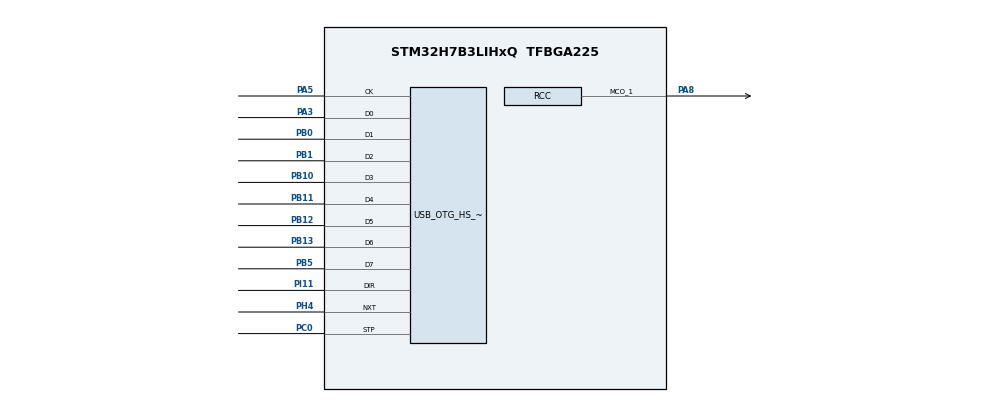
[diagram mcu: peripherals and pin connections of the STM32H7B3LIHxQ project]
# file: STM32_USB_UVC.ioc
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CORTEX_M7.CPU_DCache=Enabled
CORTEX_M7.CPU_ICache=Enabled
JPEG.JPEG_RGB_FORMAT=JPEG_RGB565
JPEG.USE_JPEG_DECODER=0
LIBJPEG.LIBJPEG_FS_type=NoFS
LIBJPEG.RGB_ORDERING=BGR
Mcu.Family=STM32H7
Mcu.Name=STM32H7B3LIHxQ
Mcu.Package=TFBGA225
Mdma.MDMA_Channel0.JPEG_INFIFO_TH.0.BlockCount=0
Mdma.MDMA_Channel0.JPEG_INFIFO_TH.0.BlockDataLength=0
Mdma.MDMA_Channel0.JPEG_INFIFO_TH.0.BufferTransferLength=32
Mdma.MDMA_Channel0.JPEG_INFIFO_TH.0.CircularMode=MDMA_LINEAR_LIST
Mdma.MDMA_Channel0.JPEG_INFIFO_TH.0.DataAlignment=MDMA_DATAALIGN_PACKENABLE
Mdma.MDMA_Channel0.JPEG_INFIFO_TH.0.DestBlockAddressOffset=0
Mdma.MDMA_Channel0.JPEG_INFIFO_TH.0.DestBurst=MDMA_DEST_BURST_16BEATS
Mdma.MDMA_Channel0.JPEG_INFIFO_TH.0.DestDataSize=MDMA_DEST_DATASIZE_WORD
Mdma.MDMA_Channel0.JPEG_INFIFO_TH.0.DestinationInc=MDMA_DEST_INC_DISABLE
Mdma.MDMA_Channel0.JPEG_INFIFO_TH.0.DstAddress=0
Mdma.MDMA_Channel0.JPEG_INFIFO_TH.0.Endianness=MDMA_LITTLE_ENDIANNESS_PRESERVE
Mdma.MDMA_Channel0.JPEG_INFIFO_TH.0.Instance=MDMA_Channel0
Mdma.MDMA_Channel0.JPEG_INFIFO_TH.0.MaskAddress=0
Mdma.MDMA_Channel0.JPEG_INFIFO_TH.0.MaskData=0
Mdma.MDMA_Channel0.JPEG_INFIFO_TH.0.Priority=MDMA_PRIORITY_HIGH
Mdma.MDMA_Channel0.JPEG_INFIFO_TH.0.Rank=First
Mdma.MDMA_Channel0.JPEG_INFIFO_TH.0.SourceBlockAddressOffset=0
Mdma.MDMA_Channel0.JPEG_INFIFO_TH.0.SourceBurst=MDMA_SOURCE_BURST_32BEATS
Mdma.MDMA_Channel0.JPEG_INFIFO_TH.0.SourceDataSize=MDMA_SRC_DATASIZE_BYTE
Mdma.MDMA_Channel0.JPEG_INFIFO_TH.0.SourceInc=MDMA_SRC_INC_BYTE
Mdma.MDMA_Channel0.JPEG_INFIFO_TH.0.SrcAddress=0
Mdma.MDMA_Channel0.JPEG_INFIFO_TH.0.TransferTriggerMode=MDMA_BUFFER_TRANSFER
Mdma.MDMA_Channel0.Request0=JPEG_INFIFO_TH
Mdma.MDMA_Channel0.RequestsNb=1
Mdma.MDMA_Channel1.JPEG_OUTFIFO_TH.0.BlockCount=0
Mdma.MDMA_Channel1.JPEG_OUTFIFO_TH.0.BlockDataLength=0
Mdma.MDMA_Channel1.JPEG_OUTFIFO_TH.0.BufferTransferLength=32
Mdma.MDMA_Channel1.JPEG_OUTFIFO_TH.0.CircularMode=MDMA_LINEAR_LIST
Mdma.MDMA_Channel1.JPEG_OUTFIFO_TH.0.DataAlignment=MDMA_DATAALIGN_PACKENABLE
Mdma.MDMA_Channel1.JPEG_OUTFIFO_TH.0.DestBlockAddressOffset=0
Mdma.MDMA_Channel1.JPEG_OUTFIFO_TH.0.DestBurst=MDMA_DEST_BURST_32BEATS
Mdma.MDMA_Channel1.JPEG_OUTFIFO_TH.0.DestDataSize=MDMA_DEST_DATASIZE_BYTE
Mdma.MDMA_Channel1.JPEG_OUTFIFO_TH.0.DestinationInc=MDMA_DEST_INC_BYTE
Mdma.MDMA_Channel1.JPEG_OUTFIFO_TH.0.DstAddress=0
Mdma.MDMA_Channel1.JPEG_OUTFIFO_TH.0.Endianness=MDMA_LITTLE_ENDIANNESS_PRESERVE
Mdma.MDMA_Channel1.JPEG_OUTFIFO_TH.0.Instance=MDMA_Channel1
Mdma.MDMA_Channel1.JPEG_OUTFIFO_TH.0.MaskAddress=0
Mdma.MDMA_Channel1.JPEG_OUTFIFO_TH.0.MaskData=0
Mdma.MDMA_Channel1.JPEG_OUTFIFO_TH.0.Priority=MDMA_PRIORITY_HIGH
Mdma.MDMA_Channel1.JPEG_OUTFIFO_TH.0.Rank=First
Mdma.MDMA_Channel1.JPEG_OUTFIFO_TH.0.SourceBlockAddressOffset=0
Mdma.MDMA_Channel1.JPEG_OUTFIFO_TH.0.SourceBurst=MDMA_SOURCE_BURST_32BEATS
Mdma.MDMA_Channel1.JPEG_OUTFIFO_TH.0.SourceDataSize=MDMA_SRC_DATASIZE_WORD
Mdma.MDMA_Channel1.JPEG_OUTFIFO_TH.0.SourceInc=MDMA_SRC_INC_DISABLE
Mdma.MDMA_Channel1.JPEG_OUTFIFO_TH.0.SrcAddress=0
Mdma.MDMA_Channel1.JPEG_OUTFIFO_TH.0.TransferTriggerMode=MDMA_BUFFER_TRANSFER
Mdma.MDMA_Channel1.Request0=JPEG_OUTFIFO_TH
Mdma.MDMA_Channel1.RequestsNb=1
Mdma.RequestSet0=MDMA_Channel0
Mdma.RequestSet1=MDMA_Channel1
Mdma.RequestSetsNb=2
NVIC.JPEG_IRQn=true\:0\:0\:false\:false\:true\:true\:true
NVIC.MDMA_IRQn=true\:0\:0\:false\:false\:true\:true\:true
NVIC.OTG_HS_IRQn=true\:6\:0\:true\:false\:true\:true\:true
NVIC.PriorityGroup=NVIC_PRIORITYGROUP_4
PA13.Mode=Serial_Wire
PA13.Signal=DEBUG_JTMS-SWDIO
PA14.Mode=Serial_Wire
PA14.Signal=DEBUG_JTCK-SWCLK
PA3.Mode=Device_HS
PA3.Signal=USB_OTG_HS_ULPI_D0
PA5.Mode=Device_HS
PA5.Signal=USB_OTG_HS_ULPI_CK
PA8.Mode=Clock-out-1
PA8.Signal=RCC_MCO_1
PB0.Mode=Device_HS
PB0.Signal=USB_OTG_HS_ULPI_D1
PB1.Mode=Device_HS
PB1.Signal=USB_OTG_HS_ULPI_D2
PB10.Mode=Device_HS
PB10.Signal=USB_OTG_HS_ULPI_D3
PB11.Mode=Device_HS
PB11.Signal=USB_OTG_HS_ULPI_D4
PB12.Mode=Device_HS
PB12.Signal=USB_OTG_HS_ULPI_D5
PB13.Mode=Device_HS
PB13.Signal=USB_OTG_HS_ULPI_D6
PB5.Mode=Device_HS
PB5.Signal=USB_OTG_HS_ULPI_D7
PC0.Mode=Device_HS
PC0.Signal=USB_OTG_HS_ULPI_STP
PC14-OSC32_IN.Mode=LSE-External-Oscillator
PC14-OSC32_IN.Signal=RCC_OSC32_IN
PC15-OSC32_OUT.Mode=LSE-External-Oscillator
PC15-OSC32_OUT.Signal=RCC_OSC32_OUT
PH0-OSC_IN.Mode=HSE-External-Oscillator
PH0-OSC_IN.Signal=RCC_OSC_IN
PH1-OSC_OUT.Mode=HSE-External-Oscillator
PH1-OSC_OUT.Signal=RCC_OSC_OUT
PH4.Mode=Device_HS
PH4.Signal=USB_OTG_HS_ULPI_NXT
PI11.Mode=Device_HS
PI11.Signal=USB_OTG_HS_ULPI_DIR
ProjectManager.HeapSize=0x2000
ProjectManager.StackSize=0x2000
ProjectManager.TargetToolchain=STM32CubeIDE
RCC.ADCFreq_Value=48375000
RCC.APB1Freq_Value=140000000
RCC.APB2Freq_Value=140000000
RCC.APB3Freq_Value=140000000
RCC.APB4Freq_Value=140000000
RCC.CDPPRE=RCC_APB3_DIV2
RCC.CDPPRE1=RCC_APB1_DIV2
RCC.CDPPRE2=RCC_APB2_DIV2
RCC.CortexFreq_Value=280000000
RCC.DIVM1=3
RCC.DIVN1=70
RCC.DIVQ1=3
RCC.HCLKFreq_Value=280000000
RCC.PLLSourceVirtual=RCC_PLLSOURCE_HSE
RCC.RCC_MCO1Source=RCC_MCO1SOURCE_HSE
RCC.SRDPPRE=RCC_APB4_DIV2
RCC.SYSCLKFreq_VALUE=280000000
RCC.SYSCLKSource=RCC_SYSCLKSOURCE_PLLCLK
RCC.SupplySource=PWR_DIRECT_SMPS_SUPPLY
RCC.USBCLockSelection=RCC_USBCLKSOURCE_HSI48
RCC.USBFreq_Value=48000000
USB_OTG_HS.Sof_enable-Device_HS=ENABLE
USB_OTG_HS.VirtualMode-Device_HS=Device_HS
VP_JPEG_VS_JPEG.Mode=JPEG_Activate
VP_LIBJPEG_VS_JPEGLIB.Mode=Enabled
VP_RCC_USB.Mode=USB_HS
board=custom

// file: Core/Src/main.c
/* USER CODE BEGIN Header */
/**
  ******************************************************************************
  * @file           : main.c
  * @brief          : Main program body
  ******************************************************************************
  * @attention
  *
  * <h2><center>&copy; Copyright (c) 2021 STMicroelectronics.
  * All rights reserved.</center></h2>
  *
  * This software component is licensed by ST under Ultimate Liberty license
  * SLA0044, the "License"; You may not use this file except in compliance with
  * the License. You may obtain a copy of the License at:
  *                             www.st.com/SLA0044
  *
  ******************************************************************************
  */
/* USER CODE END Header */
#include "main.h"
#include "jpeg.h"
#include "libjpeg.h"
#include "mdma.h"
#include "usb_otg.h"
#include "gpio.h"

/* USER CODE BEGIN Includes */
#include "jpeg_encode.h"
#include "usb_device.h"
/* USER CODE END Includes */

/* USER CODE BEGIN PV */
uint32_t FPS;
/* USER CODE END PV */

void SystemClock_Config(void);

int main(void)
{

  /* Enable I-Cache---------------------------------------------------------*/
  SCB_EnableICache();

  /* Enable D-Cache---------------------------------------------------------*/
  SCB_EnableDCache();

  /* MCU Configuration--------------------------------------------------------*/

  /* Reset of all peripherals, Initializes the Flash interface and the Systick. */
  HAL_Init();

  /* Configure the system clock */
  SystemClock_Config();

  /* Initialize all configured peripherals */
  MX_GPIO_Init();
  MX_MDMA_Init();
  MX_LIBJPEG_Init();
  MX_JPEG_Init();
  MX_USB_OTG_HS_PCD_Init();
  /* USER CODE BEGIN 2 */

  MX_USB_DEVICE_Init();

  uint32_t out_sz = 0;
  uint32_t snt_cnt = 0;
  uint32_t tm_stmp = 0;

  extern void UVC_Set_Event(uint32_t size, uint8_t encoded_flag);
  extern void *UVC_Get_Frame_Buffer(uint32_t *size);
  uint8_t UVC_Get_Event(void);

  extern uint32_t Image_RGB888[];
  extern uint32_t Image_RGB565[];

  JPEG_InitColorTables();
  static uint8_t img_tmp[320 * 240 * 2];

  /* USER CODE END 2 */

  /* Infinite loop */
  /* USER CODE BEGIN WHILE */
  while (1)
  {
  uint8_t *out_jpj = UVC_Get_Frame_Buffer(&out_sz);

  JPEG_Encode_HW_DMA(&hjpeg,
					 (uint8_t *)Image_RGB565,
					 320,
					 240,
					 2,
					 75,
					 img_tmp,
					 out_jpj);
  HAL_Delay(1);
  while (!JPEG_Get_Status(&out_sz));

  UVC_Set_Event(out_sz, 1);

  while(!UVC_Get_Event())
  {

  }
  snt_cnt++;

  if(HAL_GetTick() - tm_stmp >= 1000)
  {
	FPS = snt_cnt;
	snt_cnt = 0;
	tm_stmp = HAL_GetTick();
  }
    /* USER CODE END WHILE */

  }
}

void SystemClock_Config(void)
{
  RCC_OscInitTypeDef RCC_OscInitStruct = {0};
  RCC_ClkInitTypeDef RCC_ClkInitStruct = {0};
  RCC_PeriphCLKInitTypeDef PeriphClkInitStruct = {0};
  RCC_CRSInitTypeDef RCC_CRSInitStruct = {0};

  /** Supply configuration update enable
  */
  HAL_PWREx_ConfigSupply(PWR_DIRECT_SMPS_SUPPLY);
  /** Configure the main internal regulator output voltage
  */
  __HAL_PWR_VOLTAGESCALING_CONFIG(PWR_REGULATOR_VOLTAGE_SCALE0);

  while(!__HAL_PWR_GET_FLAG(PWR_FLAG_VOSRDY)) {}
  /** Initializes the RCC Oscillators according to the specified parameters
  * in the RCC_OscInitTypeDef structure.
  */
  RCC_OscInitStruct.OscillatorType = RCC_OSCILLATORTYPE_HSI48|RCC_OSCILLATORTYPE_HSE;
  RCC_OscInitStruct.HSEState = RCC_HSE_ON;
  RCC_OscInitStruct.HSI48State = RCC_HSI48_ON;
  RCC_OscInitStruct.PLL.PLLState = RCC_PLL_ON;
  RCC_OscInitStruct.PLL.PLLSource = RCC_PLLSOURCE_HSE;
  RCC_OscInitStruct.PLL.PLLM = 3;
  RCC_OscInitStruct.PLL.PLLN = 70;
  RCC_OscInitStruct.PLL.PLLP = 2;
  RCC_OscInitStruct.PLL.PLLQ = 3;
  RCC_OscInitStruct.PLL.PLLR = 2;
  RCC_OscInitStruct.PLL.PLLRGE = RCC_PLL1VCIRANGE_3;
  RCC_OscInitStruct.PLL.PLLVCOSEL = RCC_PLL1VCOWIDE;
  RCC_OscInitStruct.PLL.PLLFRACN = 0;
  if (HAL_RCC_OscConfig(&RCC_OscInitStruct) != HAL_OK)
  {
    Error_Handler();
  }
  /** Initializes the CPU, AHB and APB buses clocks
  */
  RCC_ClkInitStruct.ClockType = RCC_CLOCKTYPE_HCLK|RCC_CLOCKTYPE_SYSCLK
                              |RCC_CLOCKTYPE_PCLK1|RCC_CLOCKTYPE_PCLK2
                              |RCC_CLOCKTYPE_D3PCLK1|RCC_CLOCKTYPE_D1PCLK1;
  RCC_ClkInitStruct.SYSCLKSource = RCC_SYSCLKSOURCE_PLLCLK;
  RCC_ClkInitStruct.SYSCLKDivider = RCC_SYSCLK_DIV1;
  RCC_ClkInitStruct.AHBCLKDivider = RCC_HCLK_DIV1;
  RCC_ClkInitStruct.APB3CLKDivider = RCC_APB3_DIV2;
  RCC_ClkInitStruct.APB1CLKDivider = RCC_APB1_DIV2;
  RCC_ClkInitStruct.APB2CLKDivider = RCC_APB2_DIV2;
  RCC_ClkInitStruct.APB4CLKDivider = RCC_APB4_DIV2;

  if (HAL_RCC_ClockConfig(&RCC_ClkInitStruct, FLASH_LATENCY_7) != HAL_OK)
  {
    Error_Handler();
  }
  PeriphClkInitStruct.PeriphClockSelection = RCC_PERIPHCLK_USB;
  PeriphClkInitStruct.UsbClockSelection = RCC_USBCLKSOURCE_HSI48;
  if (HAL_RCCEx_PeriphCLKConfig(&PeriphClkInitStruct) != HAL_OK)
  {
    Error_Handler();
  }
  HAL_RCC_MCOConfig(RCC_MCO1, RCC_MCO1SOURCE_HSE, RCC_MCODIV_1);
  /** Enable the SYSCFG APB clock
  */
  __HAL_RCC_CRS_CLK_ENABLE();
  /** Configures CRS
  */
  RCC_CRSInitStruct.Prescaler = RCC_CRS_SYNC_DIV1;
  RCC_CRSInitStruct.Source = RCC_CRS_SYNC_SOURCE_USB2;
  RCC_CRSInitStruct.Polarity = RCC_CRS_SYNC_POLARITY_RISING;
  RCC_CRSInitStruct.ReloadValue = __HAL_RCC_CRS_RELOADVALUE_CALCULATE(48000000,1000);
  RCC_CRSInitStruct.ErrorLimitValue = 34;
  RCC_CRSInitStruct.HSI48CalibrationValue = 32;

  HAL_RCCEx_CRSConfig(&RCC_CRSInitStruct);
}

void Error_Handler(void)
{
  __disable_irq();
  while (1)
  {
  }
}

/************************ (C) COPYRIGHT STMicroelectronics *****END OF FILE****/
